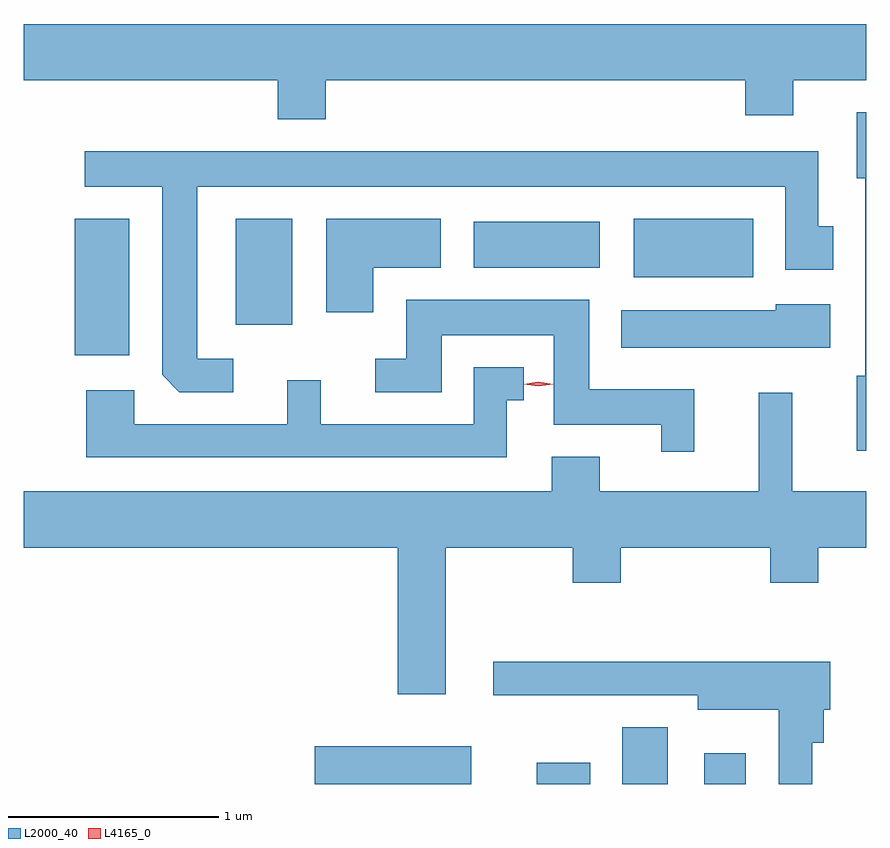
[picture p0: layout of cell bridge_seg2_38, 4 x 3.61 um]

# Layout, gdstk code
import gdstk
lib = gdstk.Library(unit=1e-6, precision=1e-09)
def R(c, l, rs):  # rectangles x0, y0, x1, y1
    for r in rs: c.add(gdstk.rectangle(r[:2], r[2:], *l))
def P(c, l, *ps):  # polygons
    for p in ps: c.add(gdstk.Polygon(p, *l))
L2000_40 = (2000, 40)
L4165_0 = (4165, 0)

bridge_seg2_38 = lib.new_cell('bridge_seg2_38')
R(bridge_seg2_38, L2000_40, [(1338.246,1060.514,1338.989,1060.694), (1339.301,1060.514,1339.554,1060.614), (1339.706,1060.514,1339.924,1060.784), (1340.096,1060.514,1340.294,1060.659), (1337.106,1062.551,1337.364,1063.199), (1337.871,1062.696,1338.139,1063.199), (1339.761,1062.921,1340.329,1063.199), (1339.001,1062.966,1339.599,1063.184)])
P(bridge_seg2_38, L2000_40, [(1338.299,1063.856),(1340.291,1063.856),(1340.291,1063.691),(1340.519,1063.691),(1340.519,1063.856),(1340.865,1063.856),(1340.865,1064.124),(1336.865,1064.124),(1336.865,1063.856),(1338.071,1063.856),(1338.071,1063.671),(1338.299,1063.671)],
  [(1340.865,1063.704),(1340.821,1063.704),(1340.821,1063.391),(1340.861,1063.391),(1340.861,1062.454),(1340.821,1062.454),(1340.821,1062.096),(1340.865,1062.096)],
  [(1337.858,1062.534),(1337.689,1062.534),(1337.689,1063.351),(1340.481,1063.351),(1340.481,1062.956),(1340.709,1062.956),(1340.709,1063.164),(1340.639,1063.164),(1340.639,1063.519),(1337.153,1063.519),(1337.153,1063.351),(1337.521,1063.351),(1337.521,1062.457),(1337.602,1062.376),(1337.858,1062.376)],
  [(1338.524,1062.966),(1338.844,1062.966),(1338.844,1063.199),(1338.301,1063.199),(1338.301,1062.756),(1338.524,1062.756)],
  [(1340.049,1062.389),(1339.549,1062.389),(1339.549,1062.814),(1338.681,1062.814),(1338.681,1062.534),(1338.533,1062.534),(1338.533,1062.376),(1338.849,1062.376),(1338.849,1062.646),(1339.381,1062.646),(1339.381,1062.221),(1339.891,1062.221),(1339.891,1062.093),(1340.049,1062.093)],
  [(1340.694,1062.794),(1340.436,1062.794),(1340.436,1062.764),(1339.701,1062.764),(1339.701,1062.586),(1340.694,1062.586)],
  [(1339.159,1062.336),(1339.238,1062.336),(1339.238,1062.494),(1339.001,1062.494),(1339.001,1062.224),(1338.274,1062.224),(1338.274,1062.433),(1338.116,1062.433),(1338.116,1062.224),(1337.389,1062.224),(1337.389,1062.384),(1337.161,1062.384),(1337.161,1062.066),(1339.159,1062.066)],
  [(1338.869,1061.636),(1339.471,1061.636),(1339.471,1061.471),(1339.699,1061.471),(1339.699,1061.636),(1340.411,1061.636),(1340.411,1061.471),(1340.639,1061.471),(1340.639,1061.636),(1340.865,1061.636),(1340.865,1061.904),(1340.514,1061.904),(1340.514,1062.373),(1340.356,1062.373),(1340.356,1061.904),(1339.599,1061.904),(1339.599,1062.069),(1339.371,1062.069),(1339.371,1061.904),(1336.865,1061.904),(1336.865,1061.636),(1338.641,1061.636),(1338.641,1060.941),(1338.869,1060.941)],
  [(1340.609,1060.711),(1340.664,1060.711),(1340.664,1060.866),(1340.694,1060.866),(1340.694,1061.094),(1339.093,1061.094),(1339.093,1060.936),(1340.066,1060.936),(1340.066,1060.866),(1340.451,1060.866),(1340.451,1060.514),(1340.609,1060.514)])
P(bridge_seg2_38, L4165_0, [(1339.308,1062.404),(1339.239,1062.413),(1339.239,1062.414),(1339.239,1062.414),(1339.308,1062.424),(1339.378,1062.414),(1339.378,1062.414),(1339.378,1062.413)])

lib.write_gds('bridge_seg2_38.gds')
